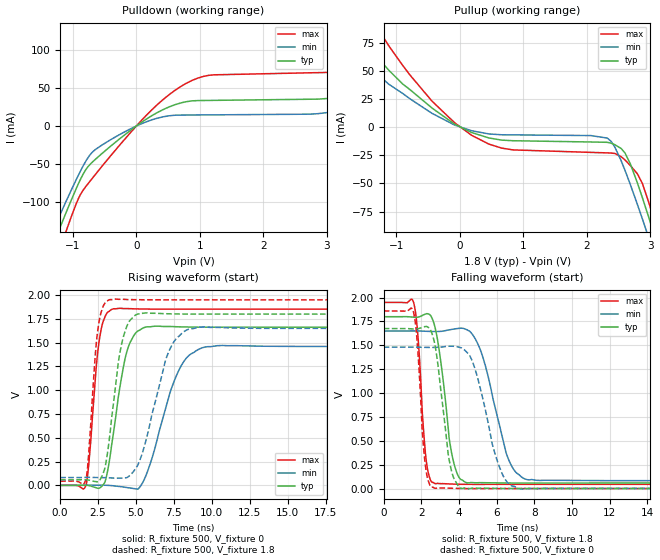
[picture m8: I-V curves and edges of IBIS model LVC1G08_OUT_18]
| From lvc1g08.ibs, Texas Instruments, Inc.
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[Model]   LVC1G08_OUT_18
Model_type  Output
Vref  =   0.0
Rref  =   1000
Cref  =   30p
Vmeas =   0.9
| variable   typ   min   max
C_comp   7.08pF   0.75pF   12.17pF
| C_pullup   5.07pF   0.75pF   7.79pF
| C_pulldown   9.10pF   6.03pF   12.17pF
[Temperature Range]   40   100   -40
| Ambient temperature   25   85   -40
[Voltage range]   1.8   1.65   1.95
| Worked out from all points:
|   slope of the pulldown table from 0 to 0.27 V, typ, clamps not added: 18.2 ohm
|   slope of the pullup table from 0 to 0.27 V, typ, clamps not added: 40.8 ohm
|   rising waveform, R_fixture 500, V_fixture 0: 20-80 % time 961ps typ, 1.64ns min, 575ps max; typ from 0 V to 1.66 V
|   rising waveform, R_fixture 500, V_fixture 1.8: 20-80 % time 830ps typ, 1.47ns min, 512ps max; typ from 0.058 V to 1.8 V
|   falling waveform, R_fixture 500, V_fixture 1.8: 20-80 % time 632ps typ, 1.15ns min, 361ps max; typ from 1.8 V to 0.058 V
|   falling waveform, R_fixture 500, V_fixture 0: 20-80 % time 594ps typ, 1.07ns min, 347ps max; typ from 1.68 V to 0 V
[Pulldown]
| LVC1G08_OUT_18
|   Voltage   I(typ)   I(min)   I(max)
-5V       -926.2mA   -845.6mA   -1.059A
-1.285V   -150.6mA   -132.2mA   -181mA
-1.13V    -118.6mA   -103.4mA   -143.9mA
-645mV    -43.82mA   -30.94mA   -63.68mA
120mV     7.037mA    4.343mA    10.87mA
790mV     31.99mA    14.4mA     56.3mA
3.335V    41.32mA    22.9mA     73.53mA
4.18V     64.65mA    16.29mA    106mA
4.445V    38.62mA    16.42mA    120.3mA
4.705V    37.61mA    16.54mA    130.6mA
5.1V      37.87mA    16.73mA    75.56mA
10V       42.22mA    18.93mA    82.87mA
[Pullup]
| LVC1G08_OUT_18
|   Voltage   I(typ)   I(min)   I(max)
-5V       376.5mA    301.6mA    519.2mA
-2.1V     117.1mA    90.82mA    164.6mA
-1.62V    82.48mA    63.2mA     116.7mA
-1.12V    50.56mA    38.12mA    72.26mA
-440mV    17.01mA    12.27mA    23.14mA
455mV     -9.587mA   -6.043mA   -15.04mA
2.32V     -13.48mA   -9.703mA   -22.88mA
2.6V      -22.99mA   -38.43mA   -29.17mA
2.795V    -49.58mA   -68.71mA   -41.49mA
2.98V     -81.29mA   -99.53mA   -67.98mA
3.15V     -112.1mA   -128.9mA   -100.8mA
10V       -1.513A    -1.437A    -1.648A
[Ramp]
| LVC1G08_OUT_18
| variable   typ   min   max
dV/dt_r   1.02/1.02E-09   0.90/1.76E-09   1.14/6.11E-10
dV/dt_f   1.06/6.93E-10   0.96/1.22E-09   1.16/3.76E-10
R_load = 500
[Rising Waveform]
| LVC1G08_OUT_18
R_fixture =   500
C_fixture =   0
L_fixture =   0
V_fixture =   0
V_fixture_min = 0
V_fixture_max = 0
|   Time   V(typ)   V(min)   V(max)
0s        -3.694uV   -703.3nV   -8.302uV
1.725ns   1.494mV    1.808mV    12.99mV
2.59ns    -27.55mV   1.7mV      1.535V
3.015ns   69.18mV    1.322mV    1.792V
3.5ns     533.9mV    -4.278mV   1.855V
4.27ns    1.325V     -19.57mV   1.858V
4.98ns    1.601V     -36.39mV   1.855V
7.85ns    1.666V     1.217V     1.852V
9.56ns    1.662V     1.454V     1.852V
50ns      1.662V     1.46V      1.852V
[Rising Waveform]
| LVC1G08_OUT_18
R_fixture =   500
C_fixture =   0
L_fixture =   0
V_fixture =   1.8
V_fixture_min = 1.65
V_fixture_max = 1.95
|   Time   V(typ)   V(min)   V(max)
0s        57.97mV    82.44mV    43.91mV
1.725ns   58.52mV    84.19mV    78.15mV
2.475ns   37.42mV    82.38mV    1.622V
3.26ns    507.9mV    79.12mV    1.952V
3.905ns   1.361V     75.81mV    1.956V
4.56ns    1.725V     99.41mV    1.953V
5.44ns    1.809V     349.4mV    1.951V
7.13ns    1.804V     1.393V     1.95V
8.55ns    1.8V       1.645V     1.95V
50ns      1.8V       1.65V      1.95V
[Falling Waveform]
| LVC1G08_OUT_18
R_fixture =   500
C_fixture =   0
L_fixture =   0
V_fixture =   1.8
V_fixture_min = 1.65
V_fixture_max = 1.95
|   Time   V(typ)   V(min)   V(max)
0s        1.8V       1.65V      1.95V
1.585ns   1.795V     1.651V     1.951V
2.25ns    1.83V      1.648V     305.1mV
2.74ns    1.675V     1.645V     50.71mV
3.64ns    338.3mV    1.668V     46.85mV
4.435ns   59.01mV    1.662V     43.61mV
5.255ns   61.18mV    1.382V     43.4mV
6.615ns   58.06mV    310.8mV    43.77mV
7.625ns   57.56mV    92.22mV    43.88mV
50ns      57.99mV    82.47mV    43.91mV
[Falling Waveform]
| LVC1G08_OUT_18
R_fixture =   500
C_fixture =   0
L_fixture =   0
V_fixture =   0
V_fixture_min = 0
V_fixture_max = 0
|   Time   V(typ)   V(min)   V(max)
0s        1.675V     1.481V     1.861V
1.575ns   1.671V     1.481V     1.854V
2.21ns    1.697V     1.479V     245.7mV
2.725ns   1.499V     1.479V     3.018mV
3.48ns    294.4mV    1.491V     3.617mV
4.135ns   290.1uV    1.473V     329uV
4.84ns    3.109mV    1.258V     -468.8uV
6.25ns    836.7uV    172.9mV    -226.5uV
7.29ns    -323.4uV   -5.238mV   -58.95uV
50ns      4.29uV     18.14uV    -5.352uV
